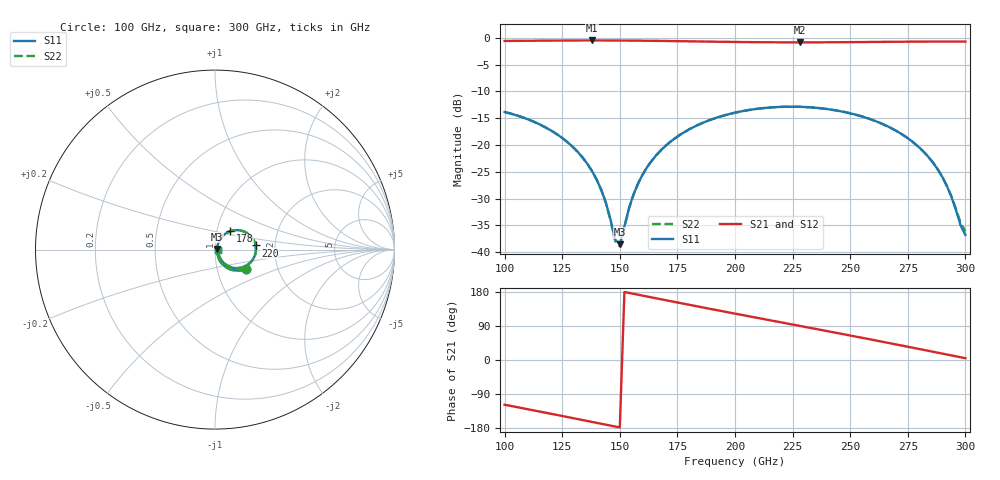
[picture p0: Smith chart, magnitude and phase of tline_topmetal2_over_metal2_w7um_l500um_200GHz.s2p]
#  GHZ S DB R 50
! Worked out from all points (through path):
!   101 points, 100 GHz to 300 GHz, reference 50 ohm
!   highest |S21| = -0.47 dB at 138 GHz (marker M1); lowest = -0.8 dB at 228 GHz (marker M2)
!   group delay of S21, straight-line fit = 3.28 ps
!   lowest |S11| = -38.5 dB at 150 GHz (marker M3), VSWR 1.02, Z = 51.2 + j0.298 ohm
!   |S11| at or under -10 dB: start of sweep to end of sweep
!   |S22| runs from -38.9 to -12.8 dB; largest |S21 - S12| = 1.1e-14
!   S11 on the Smith chart (normalised r, x): 100 GHz: 1.38, -0.31; 178 GHz: 1.16, +0.24; 220 GHz: 1.58, +0.08; 300 GHz: 1.03, +0.00
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100  -13.83 -31.6  -0.56 -118.1  -0.56 -118.1  -13.83 -31.7
120  -17.25 -52.7  -0.50 -141.8  -0.50 -141.8  -17.25 -52.9
134  -22.41 -65.0  -0.47 -158.6  -0.47 -158.6  -22.42 -65.4
138  -24.90 -66.8  -0.47 -163.5  -0.47 -163.5  -24.91 -67.3
144  -30.84 -62.0  -0.48 -170.8  -0.48 -170.8  -30.89 -62.9
148  -37.66 -30.0  -0.48 -175.6  -0.48 -175.6  -37.93 -31.2
150  -38.54 14.2  -0.49 -178.1  -0.49 -178.1  -38.89 14.8
154  -31.78 56.9  -0.50 177.1  -0.50 177.1  -31.86 57.8
158  -27.11 63.5  -0.51 172.2  -0.51 172.2  -27.14 64.0
168  -20.91 59.5  -0.56 160.2  -0.56 160.2  -20.91 59.8
178  -17.59 50.3  -0.62 148.2  -0.62 148.2  -17.59 50.5
200  -13.96 27.3  -0.75 122.4  -0.75 122.4  -13.96 27.4
220  -12.87 5.8  -0.82 99.3  -0.82 99.3  -12.88 5.9
228  -12.86 -2.8  -0.83 90.1  -0.83 90.1  -12.87 -2.7
234  -13.00 -9.2  -0.82 83.2  -0.82 83.2  -13.01 -9.1
250  -14.07 -26.4  -0.79 64.6  -0.79 64.6  -14.08 -26.2
268  -16.89 -45.1  -0.72 43.4  -0.72 43.4  -16.89 -44.8
280  -20.47 -56.0  -0.69 29.0  -0.69 29.0  -20.47 -55.4
288  -24.55 -59.9  -0.68 19.3  -0.68 19.3  -24.53 -58.9
292  -27.69 -58.2  -0.68 14.4  -0.68 14.4  -27.63 -56.7
298  -35.10 -30.3  -0.68 7.1  -0.68 7.1  -34.66 -28.0
300  -36.78 0.4  -0.68 4.7  -0.68 4.7  -36.10 0.9
